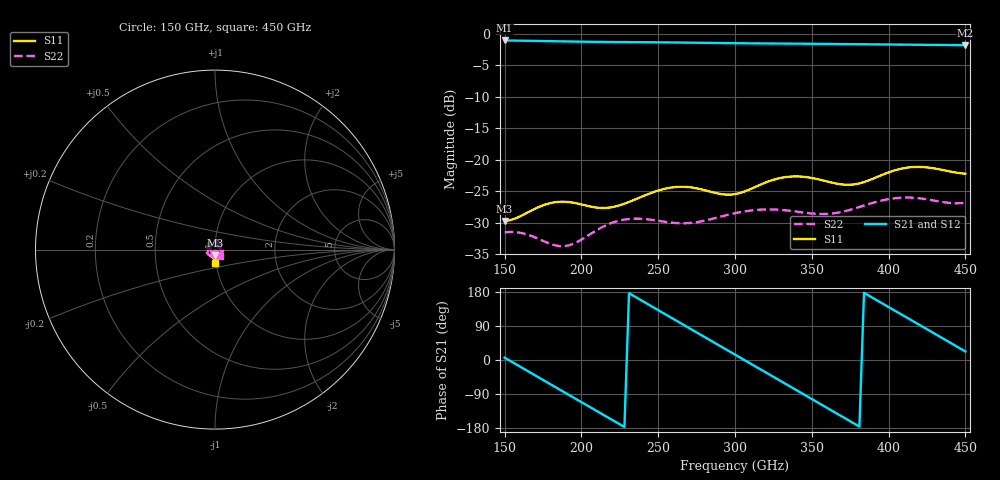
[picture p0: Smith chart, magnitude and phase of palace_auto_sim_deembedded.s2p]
! Created with skrf 1.11.0 (http://scikit-rf.org).
# GHz S DB R 50.0
!freq dBS11 angS11 dBS21 angS21 dBS12 angS12 dBS22 angS22
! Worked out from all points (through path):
!   101 points, 150 GHz to 450 GHz, reference 50 ohm
!   highest |S21| = -1.06 dB at 150 GHz (marker M1); lowest = -1.8 dB at 450 GHz (marker M2)
!   group delay of S21, straight-line fit = 6.52 ps
!   lowest |S11| = -29.7 dB at 150 GHz (marker M3), VSWR 1.07, Z = 50.1 - j3.26 ohm
!   |S11| at or under -10 dB: start of sweep to end of sweep
!   |S22| runs from -33.7 to -26.0 dB; largest |S21 - S12| = 1.5e-12
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150  -29.74 -86.7  -1.06 6.2  -1.06 6.2  -31.56 -87.1
162  -28.78 -80.0  -1.10 -22.0  -1.10 -22.0  -31.71 -127.6
177  -27.09 -83.0  -1.16 -57.2  -1.16 -57.2  -33.12 169.5
189  -26.69 -89.7  -1.21 -85.4  -1.21 -85.4  -33.74 106.0
201  -27.17 -93.2  -1.26 -113.5  -1.26 -113.5  -32.56 40.9
216  -27.67 -88.1  -1.30 -148.6  -1.30 -148.6  -30.43 -29.6
228  -27.00 -82.3  -1.32 -176.7  -1.32 -176.7  -29.52 -81.3
240  -25.81 -80.7  -1.34 155.1  -1.34 155.1  -29.41 -133.0
252  -24.77 -83.8  -1.36 126.9  -1.36 126.9  -29.79 172.5
264  -24.31 -89.6  -1.39 98.7  -1.39 98.7  -30.10 114.2
276  -24.60 -94.3  -1.43 70.5  -1.43 70.5  -29.90 54.3
300  -25.48 -86.9  -1.49 14.2  -1.49 14.2  -28.51 -58.9
315  -24.14 -81.5  -1.53 -20.9  -1.53 -20.9  -27.97 -125.7
330  -22.89 -85.6  -1.56 -56.0  -1.56 -56.0  -27.99 166.6
351  -22.95 -94.1  -1.59 -105.3  -1.59 -105.3  -28.58 65.2
366  -23.80 -93.0  -1.62 -140.5  -1.62 -140.5  -28.47 -11.8
378  -23.92 -86.3  -1.65 -168.7  -1.65 -168.7  -27.75 -72.0
390  -23.01 -81.0  -1.68 163.2  -1.68 163.2  -26.84 -128.4
402  -21.86 -81.7  -1.71 135.1  -1.71 135.1  -26.19 178.2
414  -21.21 -86.3  -1.74 107.0  -1.74 107.0  -26.03 125.7
426  -21.26 -91.0  -1.76 78.8  -1.76 78.8  -26.35 71.3
450  -22.23 -89.4  -1.81 22.5  -1.81 22.5  -26.84 -49.2
